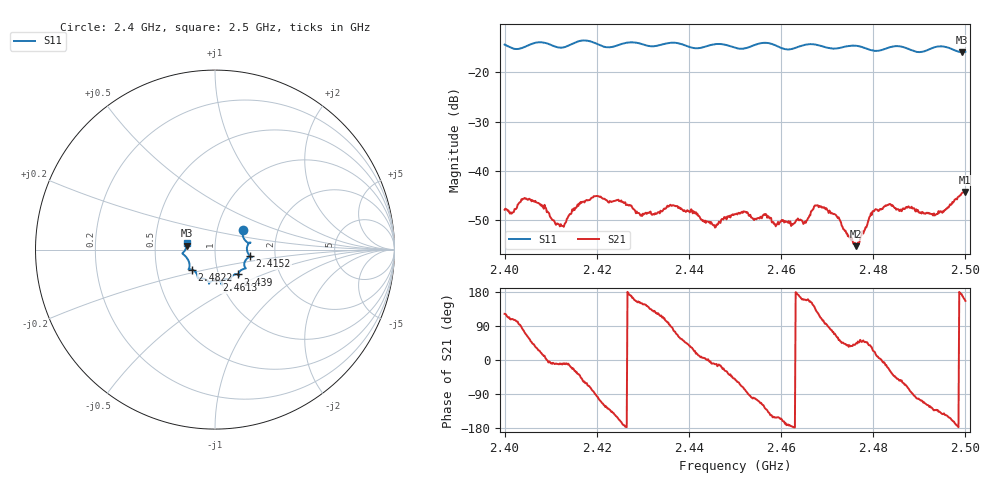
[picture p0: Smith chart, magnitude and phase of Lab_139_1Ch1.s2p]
# Hz S RI R 50
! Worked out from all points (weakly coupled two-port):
!   601 points, 2.4 GHz to 2.5 GHz, reference 50 ohm
!   highest |S21| = -44.31 dB at 2.4998 GHz (marker M1); lowest = -55.3 dB at 2.4762 GHz (marker M2)
!   lowest |S11| = -15.9 dB at 2.4993 GHz (marker M3), VSWR 1.38, Z = 36.3 + j1.63 ohm
!   |S11| at or under -10 dB: start of sweep to end of sweep
!   S12 and S22 are empty: the file has one direction only
!   S11 on the Smith chart (normalised r, x): 2.4 GHz: 1.33, +0.31; 2.4152 GHz: 1.48, -0.11; 2.439 GHz: 1.24, -0.36; 2.4613 GHz: 0.96, -0.34; 2.4822 GHz: 0.76, -0.17; 2.5 GHz: 0.73, +0.05
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2.4e9  0.1557 0.1107  -0.00213 0.00342  0 0  0 0
2.405167e9  0.1837 0.0386  0.00268 0.00433  0 0  0 0
2.412333e9  0.1776 0.00128  0.00273 -0.00047  0 0  0 0
2.415167e9  0.1956 -0.0363  0.00351 -0.00191  0 0  0 0
2.416667e9  0.205 -0.0424  0.00317 -0.0035  0 0  0 0
2.420333e9  0.186 -0.0442  -0.00103 -0.00543  0 0  0 0
2.433333e9  0.132 -0.1324  -0.00208 0.00319  0 0  0 0
2.439e9  0.1278 -0.1386  0.00261 0.00301  0 0  0 0
2.445667e9  0.0849 -0.1729  0.0026 -0.000522  0 0  0 0
2.45e9  0.0687 -0.1637  0.00229 -0.0028  0 0  0 0
2.461333e9  0.0073 -0.1703  -0.00301 -0.00049  0 0  0 0
2.465167e9  -0.0327 -0.1869  -0.00285 0.00109  0 0  0 0
2.466667e9  -0.0332 -0.1899  -0.00343 0.0019  0 0  0 0
2.472e9  -0.0656 -0.1614  0.00163 0.00311  0 0  0 0
2.476167e9  -0.0944 -0.1601  0.00126 0.00116  0 0  0 0
2.479667e9  -0.1043 -0.1304  0.00297 0.00197  0 0  0 0
2.482167e9  -0.1281 -0.1118  0.0042 -0.000507  0 0  0 0
2.483333e9  -0.1393 -0.1103  0.00417 -0.00173  0 0  0 0
2.4935e9  -0.1786 -0.025  -0.00241 -0.00266  0 0  0 0
2.499333e9  -0.1586 0.0218  -0.00589 0.0011  0 0  0 0
2.499833e9  -0.158 0.0309  -0.00573 0.00206  0 0  0 0
2.5e9  -0.158 0.034  -0.00555 0.00245  0 0  0 0
